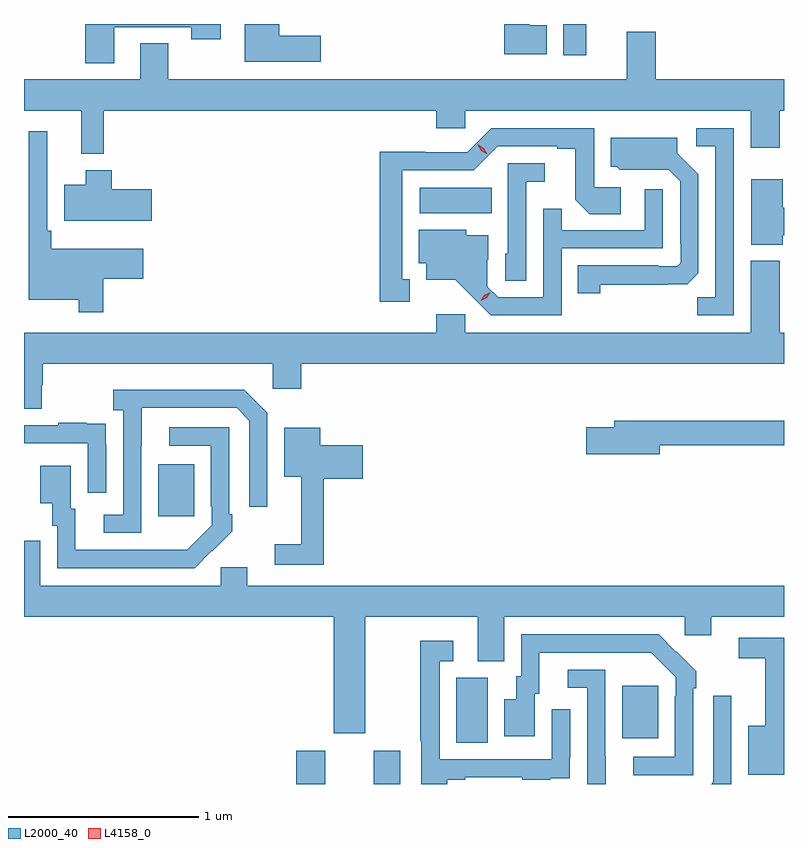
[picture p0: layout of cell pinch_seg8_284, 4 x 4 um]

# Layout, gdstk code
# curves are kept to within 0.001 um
import gdstk
lib = gdstk.Library(unit=1e-6, precision=1e-09)
def R(c, l, rs):  # rectangles x0, y0, x1, y1
    for r in rs: c.add(gdstk.rectangle(r[:2], r[2:], *l))
def P(c, l, *ps):  # polygons
    for p in ps: c.add(gdstk.Polygon(p, *l))
L2000_40 = (2000, 40)
L4158_0 = (4158, 0)

pinch_seg8_284 = lib.new_cell('pinch_seg8_284')
R(pinch_seg8_284, L2000_40, [(526.781,1146.256,526.933,1146.43), (527.189,1146.256,527.329,1146.43), (527.624,1146.472,527.788,1146.816), (528.497,1146.497,528.685,1146.772), (526.055,1147.665,526.243,1147.939), (527.43,1149.26,527.81,1149.394), (528.185,1150.092,528.307,1150.256)])
P(pinch_seg8_284, L2000_40, [(526.909,1150.193),(526.691,1150.193),(526.691,1150.256),(526.511,1150.256),(526.511,1150.058),(526.909,1150.058)],
  [(528.1,1150.249),(528.01,1150.249),(528.01,1150.256),(527.876,1150.256),(527.876,1150.097),(528.1,1150.097)],
  [(525.823,1150.239),(526.228,1150.239),(526.228,1150.176),(526.384,1150.176),(526.384,1150.256),(525.671,1150.256),(525.671,1150.05),(525.823,1150.05)],
  [(525.767,1149.8),(527.519,1149.8),(527.519,1149.707),(527.67,1149.707),(527.67,1149.8),(529.172,1149.8),(529.172,1149.606),(529.325,1149.606),(529.325,1149.8),(529.348,1149.8),(529.348,1149.964),(528.674,1149.964),(528.674,1150.216),(528.521,1150.216),(528.521,1149.964),(526.107,1149.964),(526.107,1150.154),(525.959,1150.154),(525.959,1149.964),(525.348,1149.964),(525.348,1149.8),(525.65,1149.8),(525.65,1149.572),(525.767,1149.572)],
  [(529.083,1149.708),(528.885,1149.708),(528.885,1149.612),(528.987,1149.612),(528.987,1148.819),(528.892,1148.819),(528.892,1148.724),(529.083,1148.724)],
  [(527.377,1148.913),(527.338,1148.913),(527.338,1149.486),(527.715,1149.486),(527.841,1149.612),(528.155,1149.612),(528.155,1149.6),(528.249,1149.6),(528.249,1149.332),(528.325,1149.256),(528.49,1149.256),(528.49,1149.396),(528.348,1149.396),(528.348,1149.708),(527.808,1149.708),(527.682,1149.582),(527.46,1149.582),(527.46,1149.584),(527.22,1149.584),(527.22,1148.793),(527.377,1148.793)],
  [(525.764,1148.915),(525.976,1148.915),(525.976,1149.073),(525.491,1149.073),(525.491,1149.169),(525.471,1149.169),(525.471,1149.691),(525.374,1149.691),(525.374,1148.804),(525.636,1148.804),(525.636,1148.739),(525.764,1148.739)],
  [(528.381,1148.884),(528.838,1148.885),(528.897,1148.944),(528.897,1149.466),(528.787,1149.576),(528.787,1149.658),(528.437,1149.658),(528.437,1149.504),(528.468,1149.504),(528.484,1149.488),(528.741,1149.489),(528.801,1149.429),(528.801,1149.1),(528.804,1149.1),(528.804,1149),(528.786,1148.982),(528.686,1148.982),(528.686,1148.985),(528.262,1148.985),(528.262,1148.838),(528.381,1148.838)],
  [(527.991,1149.425),(528.088,1149.425),(528.088,1149.522),(527.895,1149.522),(527.895,1149.048),(527.88,1149.048),(527.88,1148.905),(527.991,1148.905)],
  [(526.021,1149.387),(525.809,1149.387),(525.809,1149.487),(525.674,1149.487),(525.674,1149.409),(525.56,1149.409),(525.56,1149.221),(526.021,1149.221)],
  [(529.342,1149.143),(529.348,1149.143),(529.348,1149.29),(529.342,1149.29),(529.342,1149.439),(529.175,1149.439),(529.175,1149.095),(529.342,1149.095)],
  [(528.177,1149.075),(528.711,1149.075),(528.711,1149.385),(528.615,1149.385),(528.615,1149.171),(528.179,1149.171),(528.179,1149.284),(528.081,1149.284),(528.081,1148.817),(527.844,1148.817),(527.787,1148.874),(527.787,1149.016),(527.791,1149.016),(527.791,1149.145),(527.676,1149.145),(527.676,1149.172),(527.426,1149.172),(527.426,1148.996),(527.465,1148.996),(527.465,1148.909),(527.617,1148.909),(527.804,1148.724),(528.177,1148.724)],
  [(525.441,1148.355),(525.446,1148.355),(525.446,1148.468),(526.656,1148.468),(526.656,1148.337),(526.808,1148.337),(526.808,1148.468),(529.348,1148.468),(529.348,1148.632),(529.325,1148.632),(529.325,1149.01),(529.172,1149.01),(529.172,1148.632),(527.67,1148.632),(527.67,1148.728),(527.519,1148.728),(527.519,1148.632),(525.348,1148.632),(525.348,1148.23),(525.441,1148.23)],
  [(525.966,1148.035),(525.967,1148.235),(526.467,1148.235),(526.533,1148.169),(526.533,1147.716),(526.629,1147.716),(526.629,1148.211),(526.508,1148.332),(525.819,1148.332),(525.819,1148.222),(525.87,1148.222),(525.87,1147.674),(525.768,1147.674),(525.768,1147.578),(525.966,1147.578)],
  [(528.694,1148.038),(529.348,1148.038),(529.348,1148.167),(528.455,1148.167),(528.455,1148.133),(528.306,1148.133),(528.306,1147.991),(528.694,1147.991)],
  [(525.78,1148.042),(525.779,1148.042),(525.779,1148.151),(525.677,1148.151),(525.677,1148.158),(525.529,1148.158),(525.529,1148.145),(525.348,1148.145),(525.348,1148.049),(525.684,1148.049),(525.684,1147.788),(525.78,1147.788)],
  [(526.337,1147.483),(526.338,1147.482),(526.443,1147.587),(526.443,1147.675),(526.428,1147.675),(526.428,1148.133),(526.113,1148.133),(526.113,1148.037),(526.332,1148.037),(526.332,1147.717),(526.335,1147.717),(526.335,1147.617),(526.207,1147.489),(525.619,1147.488),(525.619,1147.704),(525.595,1147.704),(525.595,1147.93),(525.434,1147.93),(525.434,1147.733),(525.497,1147.733),(525.497,1147.614),(525.522,1147.614),(525.522,1147.392),(526.246,1147.392)],
  [(526.925,1147.862),(527.131,1147.862),(527.131,1148.04),(526.906,1148.04),(526.906,1148.131),(526.718,1148.131),(526.718,1147.874),(526.808,1147.874),(526.808,1147.519),(526.668,1147.519),(526.668,1147.41),(526.925,1147.41)],
  [(527.143,1147.136),(527.735,1147.136),(527.735,1146.901),(527.875,1146.901),(527.875,1147.136),(528.825,1147.136),(528.825,1147.038),(528.964,1147.038),(528.964,1147.136),(529.348,1147.136),(529.348,1147.3),(526.522,1147.3),(526.522,1147.398),(526.383,1147.398),(526.383,1147.3),(525.433,1147.3),(525.433,1147.536),(525.348,1147.536),(525.348,1147.136),(526.979,1147.136),(526.979,1146.522),(527.143,1146.522)],
  [(528.87,1146.761),(528.885,1146.761),(528.885,1146.849),(528.688,1147.044),(527.964,1147.044),(527.964,1146.822),(527.939,1146.822),(527.939,1146.703),(527.876,1146.703),(527.876,1146.507),(528.037,1146.507),(528.037,1146.732),(528.061,1146.732),(528.061,1146.948),(528.649,1146.948),(528.777,1146.819),(528.777,1146.719),(528.774,1146.719),(528.774,1146.399),(528.555,1146.399),(528.555,1146.303),(528.87,1146.303)],
  [(529.348,1147.026),(529.11,1147.026),(529.11,1146.918),(529.25,1146.918),(529.25,1146.562),(529.16,1146.562),(529.16,1146.305),(529.348,1146.305)],
  [(527.575,1146.279),(527.671,1146.279),(527.671,1146.291),(527.971,1146.291),(527.971,1146.279),(528.119,1146.279),(528.119,1146.285),(528.221,1146.285),(528.221,1146.394),(528.222,1146.394),(528.222,1146.649),(528.126,1146.649),(528.126,1146.387),(527.535,1146.387),(527.535,1146.903),(527.608,1146.903),(527.608,1147.009),(527.434,1147.009),(527.434,1146.484),(527.439,1146.484),(527.439,1146.256),(527.575,1146.256)],
  [(528.409,1146.401),(528.408,1146.401),(528.408,1146.858),(528.21,1146.858),(528.21,1146.762),(528.312,1146.762),(528.312,1146.256),(528.409,1146.256)],
  [(529.071,1146.721),(528.975,1146.721),(528.975,1146.267),(528.964,1146.256),(529.071,1146.256)])
P(pinch_seg8_284, L4158_0, [(527.752,1148.799),(527.752,1148.799),(527.77,1148.829),(527.801,1148.844),(527.801,1148.844),(527.801,1148.843),(527.784,1148.814),(527.753,1148.799)],
  [(527.786,1149.571),(527.754,1149.589),(527.736,1149.621),(527.736,1149.622),(527.736,1149.622),(527.768,1149.603),(527.787,1149.571),(527.787,1149.571)])

lib.write_gds('pinch_seg8_284.gds')
